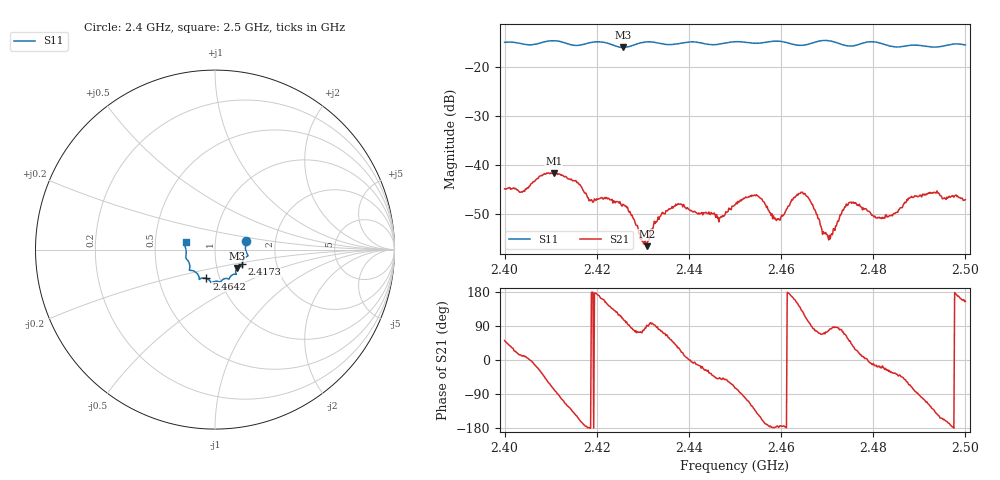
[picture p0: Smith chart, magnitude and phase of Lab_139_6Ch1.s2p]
# Hz S RI R 50
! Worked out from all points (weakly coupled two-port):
!   601 points, 2.4 GHz to 2.5 GHz, reference 50 ohm
!   highest |S21| = -41.52 dB at 2.4107 GHz (marker M1); lowest = -56.5 dB at 2.4308 GHz (marker M2)
!   lowest |S11| = -15.9 dB at 2.4257 GHz (marker M3), VSWR 1.38, Z = 62.4 - j13.1 ohm
!   |S11| at or under -10 dB: start of sweep to end of sweep
!   S12 and S22 are empty: the file has one direction only
!   S11 on the Smith chart (normalised r, x): 2.4 GHz: 1.41, +0.14; 2.4173 GHz: 1.34, -0.23; 2.4642 GHz: 0.86, -0.29; 2.5 GHz: 0.72, +0.06
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2.4e9  0.1736 0.0493  0.00359 0.00451  0 0  0 0
2.403833e9  0.1719 0.0268  0.00525 0.00093  0 0  0 0
2.410667e9  0.1842 -0.0339  0.00193 -0.00817  0 0  0 0
2.416667e9  0.1524 -0.0749  -0.0058 -0.00168  0 0  0 0
2.417333e9  0.1519 -0.0822  -0.00521 -0.000733  0 0  0 0
2.418833e9  0.1532 -0.0942  -0.00446 0.000148  0 0  0 0
2.425667e9  0.1224 -0.1025  -0.00131 0.00379  0 0  0 0
2.430833e9  0.119 -0.138  -4.98e-05 0.0015  0 0  0 0
2.433333e9  0.1127 -0.1366  0.000459 0.00294  0 0  0 0
2.437667e9  0.0839 -0.1529  0.00339 0.00224  0 0  0 0
2.446667e9  0.0423 -0.1676  0.002 -0.00211  0 0  0 0
2.45e9  0.0295 -0.1806  0.00105 -0.00381  0 0  0 0
2.454667e9  0.00467 -0.1763  -0.00377 -0.00332  0 0  0 0
2.459333e9  -0.0224 -0.1839  -0.00282 -0.000194  0 0  0 0
2.464167e9  -0.0482 -0.1608  -0.00384 0.00346  0 0  0 0
2.466667e9  -0.076 -0.1594  7.32e-05 0.00401  0 0  0 0
2.470333e9  -0.087 -0.1657  0.000375 0.00169  0 0  0 0
2.475167e9  -0.1082 -0.125  0.00304 0.00293  0 0  0 0
2.483333e9  -0.1405 -0.0894  0.00258 -0.00152  0 0  0 0
2.487833e9  -0.1595 -0.0518  0.00189 -0.00421  0 0  0 0
2.492167e9  -0.1606 -0.0236  -0.00253 -0.00454  0 0  0 0
2.5e9  -0.1639 0.0418  -0.00405 0.00189  0 0  0 0
